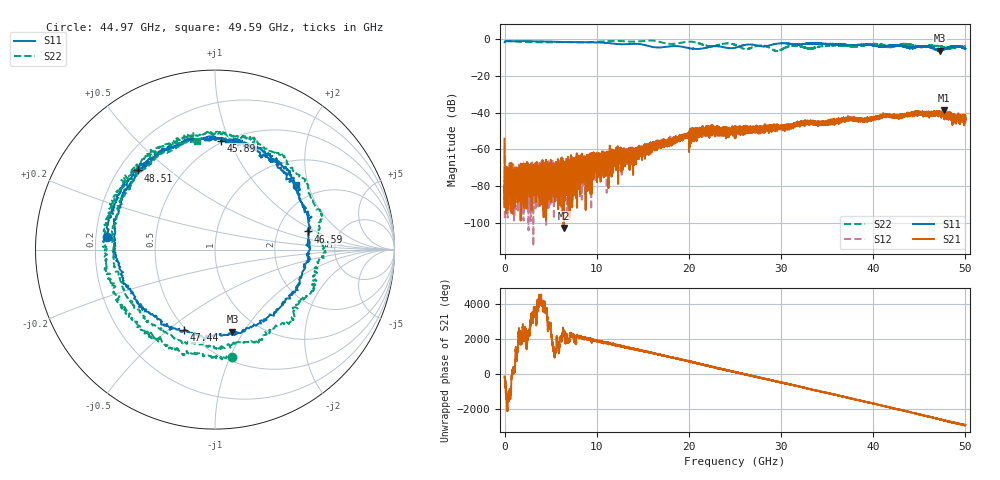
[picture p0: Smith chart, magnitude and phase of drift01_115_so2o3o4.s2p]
!Created with skrf (http://scikit-rf.org).
# Hz S RI R 50.0
!freq ReS11 ImS11 ReS21 ImS21 ReS12 ImS12 ReS22 ImS22
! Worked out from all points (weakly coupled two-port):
!   10001 points, 300 kHz to 50 GHz, reference 50 ohm
!   highest |S21| = -38.86 dB at 47.7 GHz (marker M1); lowest = -102.5 dB at 6.4 GHz (marker M2)
!   lowest |S11| = -6.6 dB at 47.21 GHz (marker M3), VSWR 2.76, Z = 38.1 - j44.7 ohm
!   |S11| at or under -10 dB: nowhere
!   |S22| runs from -6.8 to -1.0 dB; largest |S21 - S12| = 0.0041
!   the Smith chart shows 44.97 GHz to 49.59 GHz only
!   S11 on the Smith chart (normalised r, x): 44.97 GHz: 0.25, +0.05; 45.89 GHz: 0.49, +0.93; 46.59 GHz: 2.97, +0.83; 47.44 GHz: 0.48, -0.57; 48.51 GHz: 0.28, +0.39; 49.59 GHz: 1.54, +1.67
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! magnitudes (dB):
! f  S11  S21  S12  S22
! 300 kHz  -2.1  -54.2  -57.8  -1.3
! 255.3 MHz  -1.4  -80.6  -74.0  -1.4
! 6.4 GHz  -1.9  -102.5  -73.5  -1.9
! 8.335 GHz  -1.9  -68.9  -70.4  -2.1
! 16.67 GHz  -4.8  -56.4  -57.5  -1.6
! 22.08 GHz  -4.6  -51.1  -50.4  -4.1
! 25 GHz  -5.0  -48.5  -49.3  -3.4
! 26.19 GHz  -3.4  -50.6  -50.3  -5.7
! 28.09 GHz  -4.2  -51.0  -50.0  -3.8
! 29.55 GHz  -2.8  -48.6  -48.4  -6.7
! 31.27 GHz  -3.0  -47.5  -47.6  -4.0
! 33.34 GHz  -2.6  -45.1  -45.3  -5.6
! 41.67 GHz  -3.9  -41.4  -41.9  -4.6
! 44.97 GHz  -4.3  -40.0  -39.5  -4.3
! 45.89 GHz  -4.3  -40.7  -41.3  -4.0
! 46.59 GHz  -5.6  -40.9  -40.9  -3.9
! 47.21 GHz  -6.6  -40.4  -40.1  -4.4
! 47.44 GHz  -6.3  -39.5  -40.8  -4.3
! 47.7 GHz  -5.8  -38.9  -42.5  -5.1
! 48.51 GHz  -4.2  -42.5  -41.3  -5.2
! 49.59 GHz  -4.8  -44.5  -43.4  -4.3
! 50 GHz  -5.5  -43.2  -43.0  -4.1
